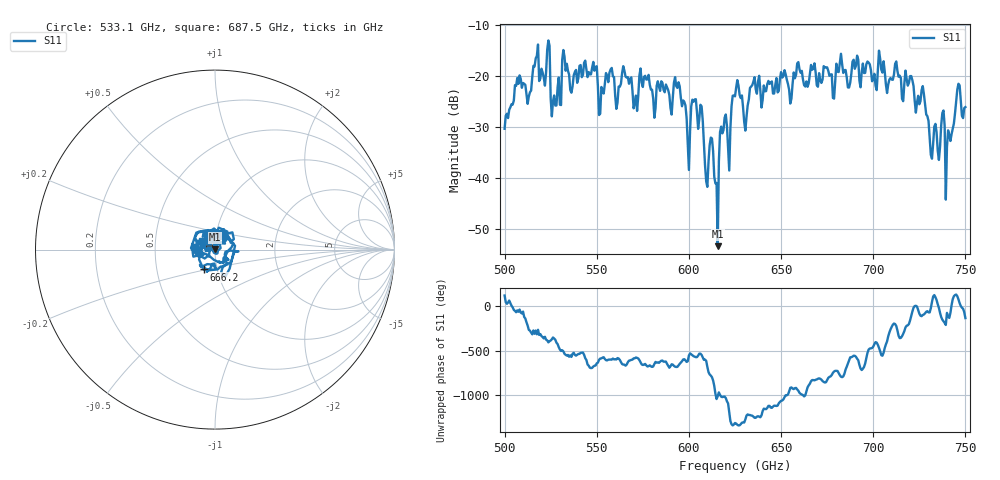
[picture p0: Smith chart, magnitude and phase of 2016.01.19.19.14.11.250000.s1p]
!Created with skrf (http://scikit-rf.org).
# GHz S RI R 50.0
!freq ReS11 ImS11
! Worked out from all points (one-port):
!   401 points, 500 GHz to 750 GHz, reference 50 ohm
!   lowest |S11| = -53.4 dB at 615.6 GHz (marker M1), VSWR 1.00, Z = 50.1 + j0.204 ohm
!   |S11| at or under -10 dB: start of sweep to end of sweep
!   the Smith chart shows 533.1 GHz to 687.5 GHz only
!   S11 on the Smith chart (normalised r, x): 533.1 GHz: 0.80, +0.01; 666.2 GHz: 0.86, -0.19; 687.5 GHz: 0.86, +0.08
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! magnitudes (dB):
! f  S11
! 500 GHz  -30.4
! 516.9 GHz  -16.6
! 523.8 GHz  -13.1
! 526.9 GHz  -23.9
! 531.2 GHz  -16.9
! 533.1 GHz  -19.0
! 562.5 GHz  -22.2
! 593.8 GHz  -22.4
! 599.4 GHz  -33.4
! 603.1 GHz  -24.7
! 609.4 GHz  -40.7
! 611.9 GHz  -32.1
! 615.6 GHz  -53.4
! 618.1 GHz  -31.3
! 621.9 GHz  -38.6
! 625 GHz  -24.0
! 630.6 GHz  -30.7
! 634.4 GHz  -21.8
! 656.2 GHz  -21.5
! 666.2 GHz  -17.9
! 687.5 GHz  -21.4
! 718.8 GHz  -22.0
! 727.5 GHz  -23.6
! 731.9 GHz  -36.2
! 737.5 GHz  -27.3
! 740.6 GHz  -30.7
! 746.2 GHz  -21.6
! 750 GHz  -26.1
